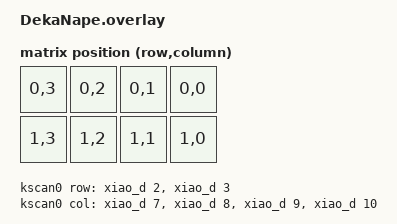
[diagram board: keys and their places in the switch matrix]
/*
 * Copyright (c) 2020 Pete Johanson
 *
 * SPDX-License-Identifier: MIT
 */

#include <dt-bindings/zmk/input_transform.h>
#include <dt-bindings/zmk/matrix_transform.h>
#include <zephyr/dt-bindings/input/input-event-codes.h>
#include "DekaNape_layouts.dtsi"

/ {
    chosen {
        zmk,physical-layout = &physical_layout0;
        zmk,kscan = &kscan0;
        zmk,matrix-transform = &default_transform;
    };

    default_transform: keymap_transform_0 {
        compatible = "zmk,matrix-transform";
        columns = <4>;
        rows = <2>;

// | SW0  | SW1  |    | SW2 | SW3 |
// | SW4  | SW5  |    | SW6 | SW7 |      
        map = < 
RC(0,3)  RC(0,2)      RC(0,1) RC(0,0) 
RC(1,3)  RC(1,2)      RC(1,1) RC(1,0)
        >;
    };

    kscan0: kscan {
        compatible = "zmk,kscan-gpio-matrix";
        wakeup-source;

        diode-direction = "col2row";
        row-gpios
            = <&xiao_d 2 (GPIO_ACTIVE_HIGH | GPIO_PULL_DOWN)>
            , <&xiao_d 3 (GPIO_ACTIVE_HIGH | GPIO_PULL_DOWN)>
            ;

         col-gpios
            = <&xiao_d 7 GPIO_ACTIVE_HIGH>
            , <&xiao_d 8 GPIO_ACTIVE_HIGH>
            , <&xiao_d 9 GPIO_ACTIVE_HIGH>
            , <&xiao_d 10 GPIO_ACTIVE_HIGH>
            ;

    };

    trackball_listener: trackball_listener {
        compatible = "zmk,input-listener";
        status = "okay";
        device = <&trackball>;
        trackball_scroller: scroller {
            input-processors = <&zip_xy_scaler 1 25 &zip_xy_to_scroll_mapper>,
                               <&zip_scroll_transform (INPUT_TRANSFORM_Y_INVERT)>;
        };
    };
};

&pinctrl {
    spi0_default: spi0_default {
        group1 {
            psels = <NRF_PSEL(SPIM_SCK, 0, 5)>,
                <NRF_PSEL(SPIM_MOSI, 0, 4)>,
                <NRF_PSEL(SPIM_MISO, 0, 4)>;
        };
    };

    spi0_sleep: spi0_sleep {
        group1 {
            psels = <NRF_PSEL(SPIM_SCK, 0, 5)>,
                <NRF_PSEL(SPIM_MOSI, 0, 4)>,
                <NRF_PSEL(SPIM_MISO, 0, 4)>;
            low-power-enable;
        };
    };
};


&spi0 {
    status = "okay";
    compatible = "nordic,nrf-spim";
    pinctrl-0 = <&spi0_default>;
    pinctrl-1 = <&spi0_sleep>;
    pinctrl-names = "default", "sleep";
    cs-gpios = <&gpio0 3 GPIO_ACTIVE_LOW>;

    trackball: trackball@0 {
        status = "okay";

        // badjeff は -alt をつける
        compatible = "pixart,pmw3610-alt";
        reg = <0>;
        spi-max-frequency = <2000000>;
        
        // badjeff driver
        irq-gpios = <&gpio0 2 (GPIO_ACTIVE_LOW | GPIO_PULL_UP)>;
        cpi = <600>;
        evt-type = <INPUT_EV_REL>;
        x-input-code = <INPUT_REL_X>;
        y-input-code = <INPUT_REL_Y>;
        force-awake;
        
        // Zephyr driver
        //motion-gpios = <&gpio0 2 (GPIO_ACTIVE_LOW | GPIO_PULL_UP)>; //P0.02を指定(MOTION)
        //res-cpi = <600>;
        ////invert-x;
        //invert-y; 
        //zephyr,axis-y = <INPUT_REL_X>;
        //zephyr,axis-x = <INPUT_REL_Y>;
        //force-awake;
        //smart-mode;
    };
};
